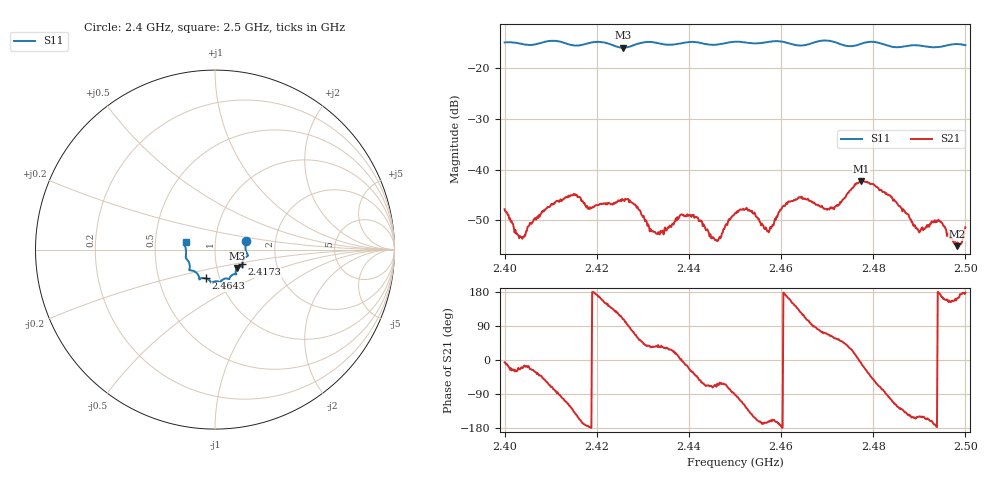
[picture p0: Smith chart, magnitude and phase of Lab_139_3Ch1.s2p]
# Hz S RI R 50
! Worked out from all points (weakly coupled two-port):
!   601 points, 2.4 GHz to 2.5 GHz, reference 50 ohm
!   highest |S21| = -42.27 dB at 2.4773 GHz (marker M1); lowest = -55.1 dB at 2.4982 GHz (marker M2)
!   lowest |S11| = -15.9 dB at 2.4257 GHz (marker M3), VSWR 1.38, Z = 62.4 - j13.1 ohm
!   |S11| at or under -10 dB: start of sweep to end of sweep
!   S12 and S22 are empty: the file has one direction only
!   S11 on the Smith chart (normalised r, x): 2.4 GHz: 1.41, +0.14; 2.4173 GHz: 1.34, -0.23; 2.4643 GHz: 0.86, -0.28; 2.5 GHz: 0.72, +0.06
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2.4e9  0.1733 0.0494  0.00404 -0.000441  0 0  0 0
2.403667e9  0.1721 0.0286  0.00205 -0.00071  0 0  0 0
2.411167e9  0.1831 -0.0349  0.000623 -0.00483  0 0  0 0
2.416667e9  0.1525 -0.0749  -0.00466 -0.00148  0 0  0 0
2.417333e9  0.152 -0.0823  -0.00462 -0.000824  0 0  0 0
2.425667e9  0.1226 -0.1024  -0.00152 0.00481  0 0  0 0
2.433333e9  0.1128 -0.1365  0.00187 0.00154  0 0  0 0
2.4405e9  0.079 -0.1643  0.003 -0.00163  0 0  0 0
2.446e9  0.0472 -0.1645  0.000675 -0.0019  0 0  0 0
2.45e9  0.0294 -0.1807  -0.000115 -0.0037  0 0  0 0
2.453e9  0.0176 -0.1772  -0.00283 -0.00285  0 0  0 0
2.457333e9  -0.0157 -0.182  -0.00228 -0.000761  0 0  0 0
2.460667e9  -0.0252 -0.1801  -0.00439 0.00036  0 0  0 0
2.464333e9  -0.0502 -0.1602  -0.00303 0.00434  0 0  0 0
2.466667e9  -0.0761 -0.1596  -0.000301 0.00478  0 0  0 0
2.4715e9  -0.0871 -0.1602  0.00217 0.00346  0 0  0 0
2.477333e9  -0.13 -0.1163  0.00764 -0.00101  0 0  0 0
2.483333e9  -0.1404 -0.0893  -0.000803 -0.00561  0 0  0 0
2.489667e9  -0.163 -0.0432  -0.00226 -0.00127  0 0  0 0
2.4945e9  -0.1629 0.00487  -0.00305 0.000322  0 0  0 0
2.498167e9  -0.1706 0.0323  -0.00167 0.000541  0 0  0 0
2.5e9  -0.1639 0.0419  -0.0027 0.000122  0 0  0 0
